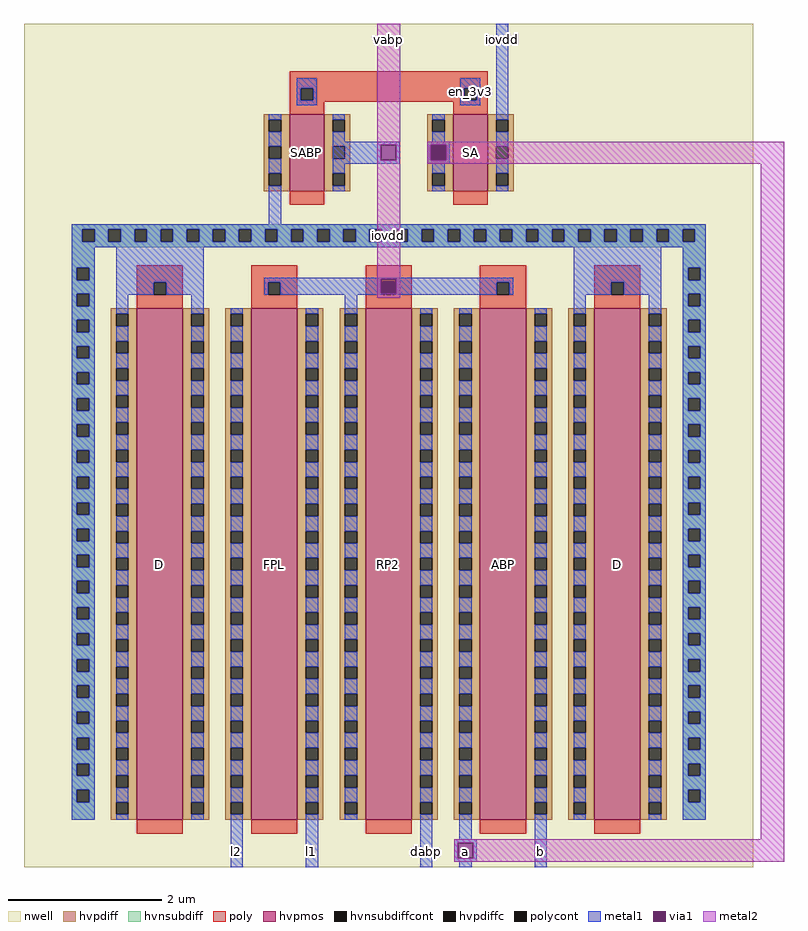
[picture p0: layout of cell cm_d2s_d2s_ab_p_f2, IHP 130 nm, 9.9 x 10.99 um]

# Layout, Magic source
magic
tech ihp-sg13cmos5l
magscale 1 2
<< nwell >>
rect 0 0 1900 2198
<< hvnsubdiff >>
rect 124 1662 1776 1676
rect 124 1630 152 1662
rect 184 1630 220 1662
rect 252 1630 288 1662
rect 320 1630 356 1662
rect 388 1630 424 1662
rect 456 1630 492 1662
rect 524 1630 560 1662
rect 592 1630 628 1662
rect 660 1630 696 1662
rect 728 1630 764 1662
rect 796 1630 832 1662
rect 864 1630 900 1662
rect 932 1630 968 1662
rect 1000 1630 1036 1662
rect 1068 1630 1104 1662
rect 1136 1630 1172 1662
rect 1204 1630 1240 1662
rect 1272 1630 1308 1662
rect 1340 1630 1376 1662
rect 1408 1630 1444 1662
rect 1476 1630 1512 1662
rect 1544 1630 1580 1662
rect 1612 1630 1648 1662
rect 1680 1630 1716 1662
rect 1748 1630 1776 1662
rect 124 1616 1776 1630
rect 124 1562 184 1616
rect 124 1530 138 1562
rect 170 1530 184 1562
rect 124 1494 184 1530
rect 124 1462 138 1494
rect 170 1462 184 1494
rect 124 1426 184 1462
rect 1716 1562 1776 1616
rect 1716 1530 1730 1562
rect 1762 1530 1776 1562
rect 1716 1494 1776 1530
rect 1716 1462 1730 1494
rect 1762 1462 1776 1494
rect 124 1394 138 1426
rect 170 1394 184 1426
rect 124 1358 184 1394
rect 124 1326 138 1358
rect 170 1326 184 1358
rect 124 1290 184 1326
rect 124 1258 138 1290
rect 170 1258 184 1290
rect 124 1222 184 1258
rect 124 1190 138 1222
rect 170 1190 184 1222
rect 124 1154 184 1190
rect 124 1122 138 1154
rect 170 1122 184 1154
rect 124 1086 184 1122
rect 124 1054 138 1086
rect 170 1054 184 1086
rect 124 1018 184 1054
rect 124 986 138 1018
rect 170 986 184 1018
rect 124 950 184 986
rect 124 918 138 950
rect 170 918 184 950
rect 124 882 184 918
rect 124 850 138 882
rect 170 850 184 882
rect 124 814 184 850
rect 124 782 138 814
rect 170 782 184 814
rect 124 746 184 782
rect 124 714 138 746
rect 170 714 184 746
rect 124 678 184 714
rect 124 646 138 678
rect 170 646 184 678
rect 124 610 184 646
rect 124 578 138 610
rect 170 578 184 610
rect 124 542 184 578
rect 124 510 138 542
rect 170 510 184 542
rect 124 474 184 510
rect 124 442 138 474
rect 170 442 184 474
rect 124 406 184 442
rect 124 374 138 406
rect 170 374 184 406
rect 124 338 184 374
rect 124 306 138 338
rect 170 306 184 338
rect 124 270 184 306
rect 124 238 138 270
rect 170 238 184 270
rect 124 202 184 238
rect 124 170 138 202
rect 170 170 184 202
rect 124 124 184 170
rect 1716 1426 1776 1462
rect 1716 1394 1730 1426
rect 1762 1394 1776 1426
rect 1716 1358 1776 1394
rect 1716 1326 1730 1358
rect 1762 1326 1776 1358
rect 1716 1290 1776 1326
rect 1716 1258 1730 1290
rect 1762 1258 1776 1290
rect 1716 1222 1776 1258
rect 1716 1190 1730 1222
rect 1762 1190 1776 1222
rect 1716 1154 1776 1190
rect 1716 1122 1730 1154
rect 1762 1122 1776 1154
rect 1716 1086 1776 1122
rect 1716 1054 1730 1086
rect 1762 1054 1776 1086
rect 1716 1018 1776 1054
rect 1716 986 1730 1018
rect 1762 986 1776 1018
rect 1716 950 1776 986
rect 1716 918 1730 950
rect 1762 918 1776 950
rect 1716 882 1776 918
rect 1716 850 1730 882
rect 1762 850 1776 882
rect 1716 814 1776 850
rect 1716 782 1730 814
rect 1762 782 1776 814
rect 1716 746 1776 782
rect 1716 714 1730 746
rect 1762 714 1776 746
rect 1716 678 1776 714
rect 1716 646 1730 678
rect 1762 646 1776 678
rect 1716 610 1776 646
rect 1716 578 1730 610
rect 1762 578 1776 610
rect 1716 542 1776 578
rect 1716 510 1730 542
rect 1762 510 1776 542
rect 1716 474 1776 510
rect 1716 442 1730 474
rect 1762 442 1776 474
rect 1716 406 1776 442
rect 1716 374 1730 406
rect 1762 374 1776 406
rect 1716 338 1776 374
rect 1716 306 1730 338
rect 1762 306 1776 338
rect 1716 270 1776 306
rect 1716 238 1730 270
rect 1762 238 1776 270
rect 1716 202 1776 238
rect 1716 170 1730 202
rect 1762 170 1776 202
rect 1716 124 1776 170
<< hvnsubdiffcont >>
rect 152 1630 184 1662
rect 220 1630 252 1662
rect 288 1630 320 1662
rect 356 1630 388 1662
rect 424 1630 456 1662
rect 492 1630 524 1662
rect 560 1630 592 1662
rect 628 1630 660 1662
rect 696 1630 728 1662
rect 764 1630 796 1662
rect 832 1630 864 1662
rect 900 1630 932 1662
rect 968 1630 1000 1662
rect 1036 1630 1068 1662
rect 1104 1630 1136 1662
rect 1172 1630 1204 1662
rect 1240 1630 1272 1662
rect 1308 1630 1340 1662
rect 1376 1630 1408 1662
rect 1444 1630 1476 1662
rect 1512 1630 1544 1662
rect 1580 1630 1612 1662
rect 1648 1630 1680 1662
rect 1716 1630 1748 1662
rect 138 1530 170 1562
rect 138 1462 170 1494
rect 1730 1530 1762 1562
rect 1730 1462 1762 1494
rect 138 1394 170 1426
rect 138 1326 170 1358
rect 138 1258 170 1290
rect 138 1190 170 1222
rect 138 1122 170 1154
rect 138 1054 170 1086
rect 138 986 170 1018
rect 138 918 170 950
rect 138 850 170 882
rect 138 782 170 814
rect 138 714 170 746
rect 138 646 170 678
rect 138 578 170 610
rect 138 510 170 542
rect 138 442 170 474
rect 138 374 170 406
rect 138 306 170 338
rect 138 238 170 270
rect 138 170 170 202
rect 1730 1394 1762 1426
rect 1730 1326 1762 1358
rect 1730 1258 1762 1290
rect 1730 1190 1762 1222
rect 1730 1122 1762 1154
rect 1730 1054 1762 1086
rect 1730 986 1762 1018
rect 1730 918 1762 950
rect 1730 850 1762 882
rect 1730 782 1762 814
rect 1730 714 1762 746
rect 1730 646 1762 678
rect 1730 578 1762 610
rect 1730 510 1762 542
rect 1730 442 1762 474
rect 1730 374 1762 406
rect 1730 306 1762 338
rect 1730 238 1762 270
rect 1730 170 1762 202
<< poly >>
rect 692 2030 1208 2074
rect 692 1998 721 2030
rect 753 1998 1147 2030
rect 1179 1998 1208 2030
rect 692 1994 1208 1998
rect 692 1962 782 1994
rect 1118 1962 1208 1994
rect 294 1524 414 1568
rect 294 1492 338 1524
rect 370 1492 414 1524
rect 294 1456 414 1492
rect 592 1524 712 1568
rect 592 1492 636 1524
rect 668 1492 712 1524
rect 592 1456 712 1492
rect 890 1524 1010 1568
rect 890 1492 934 1524
rect 966 1492 1010 1524
rect 890 1456 1010 1492
rect 1188 1524 1308 1568
rect 1188 1492 1232 1524
rect 1264 1492 1308 1524
rect 1188 1456 1308 1492
rect 1486 1524 1606 1568
rect 1486 1492 1530 1524
rect 1562 1492 1606 1524
rect 1486 1456 1606 1492
<< polycont >>
rect 721 1998 753 2030
rect 1147 1998 1179 2030
rect 338 1492 370 1524
rect 636 1492 668 1524
rect 934 1492 966 1524
rect 1232 1492 1264 1524
rect 1530 1492 1562 1524
<< metal1 >>
rect 711 2030 763 2056
rect 711 1998 721 2030
rect 753 1998 763 2030
rect 711 1986 763 1998
rect 1137 2030 1189 2056
rect 1137 1998 1147 2030
rect 1179 1998 1189 2030
rect 1137 1986 1189 1998
rect 1230 1962 1262 2198
rect 804 1882 979 1891
rect 804 1842 930 1882
rect 970 1842 979 1882
rect 804 1833 979 1842
rect 1051 1882 1109 1891
rect 1051 1842 1060 1882
rect 1100 1842 1109 1882
rect 1051 1833 1109 1842
rect 638 1676 670 1762
rect 124 1662 1776 1676
rect 124 1630 152 1662
rect 184 1630 220 1662
rect 252 1630 288 1662
rect 320 1630 356 1662
rect 388 1630 424 1662
rect 456 1630 492 1662
rect 524 1630 560 1662
rect 592 1630 628 1662
rect 660 1630 696 1662
rect 728 1630 764 1662
rect 796 1630 832 1662
rect 864 1630 900 1662
rect 932 1630 968 1662
rect 1000 1630 1036 1662
rect 1068 1630 1104 1662
rect 1136 1630 1172 1662
rect 1204 1630 1240 1662
rect 1272 1630 1308 1662
rect 1340 1630 1376 1662
rect 1408 1630 1444 1662
rect 1476 1630 1512 1662
rect 1544 1630 1580 1662
rect 1612 1630 1648 1662
rect 1680 1630 1716 1662
rect 1748 1630 1776 1662
rect 124 1616 1776 1630
rect 124 1562 184 1616
rect 124 1530 138 1562
rect 170 1530 184 1562
rect 124 1494 184 1530
rect 124 1462 138 1494
rect 170 1462 184 1494
rect 124 1426 184 1462
rect 240 1524 468 1616
rect 240 1492 338 1524
rect 370 1492 468 1524
rect 626 1534 1274 1536
rect 626 1524 930 1534
rect 970 1524 1274 1534
rect 626 1492 636 1524
rect 668 1494 930 1524
rect 970 1494 1232 1524
rect 668 1492 934 1494
rect 966 1492 1232 1494
rect 1264 1492 1274 1524
rect 1432 1524 1660 1616
rect 1432 1492 1530 1524
rect 1562 1492 1660 1524
rect 240 1456 272 1492
rect 436 1456 468 1492
rect 836 1456 868 1492
rect 1432 1456 1464 1492
rect 1628 1456 1660 1492
rect 1716 1562 1776 1616
rect 1716 1530 1730 1562
rect 1762 1530 1776 1562
rect 1716 1494 1776 1530
rect 1716 1462 1730 1494
rect 1762 1462 1776 1494
rect 124 1394 138 1426
rect 170 1394 184 1426
rect 124 1358 184 1394
rect 124 1326 138 1358
rect 170 1326 184 1358
rect 124 1290 184 1326
rect 124 1258 138 1290
rect 170 1258 184 1290
rect 124 1222 184 1258
rect 124 1190 138 1222
rect 170 1190 184 1222
rect 124 1154 184 1190
rect 124 1122 138 1154
rect 170 1122 184 1154
rect 124 1086 184 1122
rect 124 1054 138 1086
rect 170 1054 184 1086
rect 124 1018 184 1054
rect 124 986 138 1018
rect 170 986 184 1018
rect 124 950 184 986
rect 124 918 138 950
rect 170 918 184 950
rect 124 882 184 918
rect 124 850 138 882
rect 170 850 184 882
rect 124 814 184 850
rect 124 782 138 814
rect 170 782 184 814
rect 124 746 184 782
rect 124 714 138 746
rect 170 714 184 746
rect 124 678 184 714
rect 124 646 138 678
rect 170 646 184 678
rect 124 610 184 646
rect 124 578 138 610
rect 170 578 184 610
rect 124 542 184 578
rect 124 510 138 542
rect 170 510 184 542
rect 124 474 184 510
rect 124 442 138 474
rect 170 442 184 474
rect 124 406 184 442
rect 124 374 138 406
rect 170 374 184 406
rect 124 338 184 374
rect 124 306 138 338
rect 170 306 184 338
rect 124 270 184 306
rect 124 238 138 270
rect 170 238 184 270
rect 124 202 184 238
rect 124 170 138 202
rect 170 170 184 202
rect 124 124 184 170
rect 1716 1426 1776 1462
rect 1716 1394 1730 1426
rect 1762 1394 1776 1426
rect 1716 1358 1776 1394
rect 1716 1326 1730 1358
rect 1762 1326 1776 1358
rect 1716 1290 1776 1326
rect 1716 1258 1730 1290
rect 1762 1258 1776 1290
rect 1716 1222 1776 1258
rect 1716 1190 1730 1222
rect 1762 1190 1776 1222
rect 1716 1154 1776 1190
rect 1716 1122 1730 1154
rect 1762 1122 1776 1154
rect 1716 1086 1776 1122
rect 1716 1054 1730 1086
rect 1762 1054 1776 1086
rect 1716 1018 1776 1054
rect 1716 986 1730 1018
rect 1762 986 1776 1018
rect 1716 950 1776 986
rect 1716 918 1730 950
rect 1762 918 1776 950
rect 1716 882 1776 918
rect 1716 850 1730 882
rect 1762 850 1776 882
rect 1716 814 1776 850
rect 1716 782 1730 814
rect 1762 782 1776 814
rect 1716 746 1776 782
rect 1716 714 1730 746
rect 1762 714 1776 746
rect 1716 678 1776 714
rect 1716 646 1730 678
rect 1762 646 1776 678
rect 1716 610 1776 646
rect 1716 578 1730 610
rect 1762 578 1776 610
rect 1716 542 1776 578
rect 1716 510 1730 542
rect 1762 510 1776 542
rect 1716 474 1776 510
rect 1716 442 1730 474
rect 1762 442 1776 474
rect 1716 406 1776 442
rect 1716 374 1730 406
rect 1762 374 1776 406
rect 1716 338 1776 374
rect 1716 306 1730 338
rect 1762 306 1776 338
rect 1716 270 1776 306
rect 1716 238 1730 270
rect 1762 238 1776 270
rect 1716 202 1776 238
rect 1716 170 1730 202
rect 1762 170 1776 202
rect 1716 124 1776 170
rect 538 0 570 124
rect 734 0 766 124
rect 1032 0 1064 124
rect 1134 73 1166 124
rect 1121 64 1179 73
rect 1121 24 1130 64
rect 1170 24 1179 64
rect 1121 15 1179 24
rect 1134 0 1166 15
rect 1330 0 1362 124
<< via1 >>
rect 930 1842 970 1882
rect 1060 1842 1100 1882
rect 930 1524 970 1534
rect 930 1494 934 1524
rect 934 1494 966 1524
rect 966 1494 970 1524
rect 1130 24 1170 64
<< metal2 >>
rect 920 1882 980 2198
rect 920 1842 930 1882
rect 970 1842 980 1882
rect 920 1534 980 1842
rect 1051 1882 1980 1891
rect 1051 1842 1060 1882
rect 1100 1842 1980 1882
rect 1051 1833 1980 1842
rect 920 1494 930 1534
rect 970 1494 980 1534
rect 920 1484 980 1494
rect 1920 73 1980 1833
rect 1121 64 1980 73
rect 1121 24 1130 64
rect 1170 24 1980 64
rect 1121 15 1980 24
use cm_d2s_pmosHV_w1_l0p45  cm_d2s_pmosHV_w1_l0p45_0
transform 1 0 1050 0 1 1762
box -124 -124 350 324
use cm_d2s_pmosHV_w1_l0p45  cm_d2s_pmosHV_w1_l0p45_1
transform 1 0 624 0 1 1762
box -124 -124 350 324
use cm_d2s_pmosHV_w6p66_l0p6  cm_d2s_pmosHV_w6p66_l0p6_0
transform -1 0 1674 0 1 124
box -124 -124 380 1456
use cm_d2s_pmosHV_w6p66_l0p6  cm_d2s_pmosHV_w6p66_l0p6_1
transform -1 0 1376 0 1 124
box -124 -124 380 1456
use cm_d2s_pmosHV_w6p66_l0p6  cm_d2s_pmosHV_w6p66_l0p6_2
transform 1 0 822 0 1 124
box -124 -124 380 1456
use cm_d2s_pmosHV_w6p66_l0p6  cm_d2s_pmosHV_w6p66_l0p6_3
transform 1 0 524 0 1 124
box -124 -124 380 1456
use cm_d2s_pmosHV_w6p66_l0p6  cm_d2s_pmosHV_w6p66_l0p6_4
transform 1 0 226 0 1 124
box -124 -124 380 1456
<< labels >>
rlabel comment s 354 790 354 790 4 D
rlabel comment s 652 790 652 790 4 FPL
rlabel comment s 950 790 950 790 4 RP2
rlabel comment s 1248 790 1248 790 4 ABP
rlabel comment s 1546 790 1546 790 4 D
rlabel comment s 737 1862 737 1862 4 SABP
rlabel comment s 1163 1862 1163 1862 4 SA
rlabel metal2 s 920 2118 980 2198 4 vabp
port 2 nsew
rlabel metal1 s 1230 2118 1262 2198 4 iovdd
port 3 nsew
rlabel metal1 s 750 1616 1150 1676 4 iovdd
port 3 nsew
rlabel metal1 s 1137 1986 1189 2056 4 en_3v3
port 4 nsew
rlabel metal1 s 734 0 766 80 4 l1
port 5 nsew
rlabel metal1 s 538 0 570 80 4 l2
port 6 nsew
rlabel metal1 s 1032 0 1064 80 4 dabp
port 7 nsew
rlabel metal1 s 1330 0 1362 80 4 b
port 8 nsew
rlabel metal1 s 1134 0 1166 80 4 a
port 9 nsew
<< properties >>
string GDS_END 152710
string GDS_FILE custom_io/gds/sg13cmos5l_IOPadDiff2Single.uniq.gds
string GDS_START 143642
<< end >>

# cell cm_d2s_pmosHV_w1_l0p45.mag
magic
tech ihp-sg13cmos5l
magscale 1 2
<< nwell >>
rect -124 -124 350 324
<< hvpmos >>
rect 68 0 158 200
<< hvpdiff >>
rect 0 186 68 200
rect 0 154 14 186
rect 46 154 68 186
rect 0 116 68 154
rect 0 84 14 116
rect 46 84 68 116
rect 0 46 68 84
rect 0 14 14 46
rect 46 14 68 46
rect 0 0 68 14
rect 158 186 226 200
rect 158 154 180 186
rect 212 154 226 186
rect 158 116 226 154
rect 158 84 180 116
rect 212 84 226 116
rect 158 46 226 84
rect 158 14 180 46
rect 212 14 226 46
rect 158 0 226 14
<< hvpdiffc >>
rect 14 154 46 186
rect 14 84 46 116
rect 14 14 46 46
rect 180 154 212 186
rect 180 84 212 116
rect 180 14 212 46
<< poly >>
rect 68 200 158 236
rect 68 -36 158 0
<< metal1 >>
rect 14 186 46 200
rect 14 116 46 154
rect 14 46 46 84
rect 14 0 46 14
rect 180 186 212 200
rect 180 116 212 154
rect 180 46 212 84
rect 180 0 212 14
<< labels >>
flabel comment s 113 100 113 100 0 FreeSans 200 90 0 0 pmosHV
<< properties >>
string GDS_END 31168
string GDS_FILE custom_io/gds/sg13cmos5l_IOPadDiff2Single.uniq.gds
string GDS_START 29806
<< end >>

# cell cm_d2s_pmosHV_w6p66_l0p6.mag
magic
tech ihp-sg13cmos5l
magscale 1 2
<< nwell >>
rect -124 -124 380 1456
<< hvpmos >>
rect 68 0 188 1332
<< hvpdiff >>
rect 0 1318 68 1332
rect 0 1286 14 1318
rect 46 1286 68 1318
rect 0 1247 68 1286
rect 0 1215 14 1247
rect 46 1215 68 1247
rect 0 1176 68 1215
rect 0 1144 14 1176
rect 46 1144 68 1176
rect 0 1106 68 1144
rect 0 1074 14 1106
rect 46 1074 68 1106
rect 0 1035 68 1074
rect 0 1003 14 1035
rect 46 1003 68 1035
rect 0 964 68 1003
rect 0 932 14 964
rect 46 932 68 964
rect 0 894 68 932
rect 0 862 14 894
rect 46 862 68 894
rect 0 823 68 862
rect 0 791 14 823
rect 46 791 68 823
rect 0 752 68 791
rect 0 720 14 752
rect 46 720 68 752
rect 0 682 68 720
rect 0 650 14 682
rect 46 650 68 682
rect 0 611 68 650
rect 0 579 14 611
rect 46 579 68 611
rect 0 540 68 579
rect 0 508 14 540
rect 46 508 68 540
rect 0 470 68 508
rect 0 438 14 470
rect 46 438 68 470
rect 0 399 68 438
rect 0 367 14 399
rect 46 367 68 399
rect 0 328 68 367
rect 0 296 14 328
rect 46 296 68 328
rect 0 258 68 296
rect 0 226 14 258
rect 46 226 68 258
rect 0 187 68 226
rect 0 155 14 187
rect 46 155 68 187
rect 0 116 68 155
rect 0 84 14 116
rect 46 84 68 116
rect 0 46 68 84
rect 0 14 14 46
rect 46 14 68 46
rect 0 0 68 14
rect 188 1318 256 1332
rect 188 1286 210 1318
rect 242 1286 256 1318
rect 188 1247 256 1286
rect 188 1215 210 1247
rect 242 1215 256 1247
rect 188 1176 256 1215
rect 188 1144 210 1176
rect 242 1144 256 1176
rect 188 1106 256 1144
rect 188 1074 210 1106
rect 242 1074 256 1106
rect 188 1035 256 1074
rect 188 1003 210 1035
rect 242 1003 256 1035
rect 188 964 256 1003
rect 188 932 210 964
rect 242 932 256 964
rect 188 894 256 932
rect 188 862 210 894
rect 242 862 256 894
rect 188 823 256 862
rect 188 791 210 823
rect 242 791 256 823
rect 188 752 256 791
rect 188 720 210 752
rect 242 720 256 752
rect 188 682 256 720
rect 188 650 210 682
rect 242 650 256 682
rect 188 611 256 650
rect 188 579 210 611
rect 242 579 256 611
rect 188 540 256 579
rect 188 508 210 540
rect 242 508 256 540
rect 188 470 256 508
rect 188 438 210 470
rect 242 438 256 470
rect 188 399 256 438
rect 188 367 210 399
rect 242 367 256 399
rect 188 328 256 367
rect 188 296 210 328
rect 242 296 256 328
rect 188 258 256 296
rect 188 226 210 258
rect 242 226 256 258
rect 188 187 256 226
rect 188 155 210 187
rect 242 155 256 187
rect 188 116 256 155
rect 188 84 210 116
rect 242 84 256 116
rect 188 46 256 84
rect 188 14 210 46
rect 242 14 256 46
rect 188 0 256 14
<< hvpdiffc >>
rect 14 1286 46 1318
rect 14 1215 46 1247
rect 14 1144 46 1176
rect 14 1074 46 1106
rect 14 1003 46 1035
rect 14 932 46 964
rect 14 862 46 894
rect 14 791 46 823
rect 14 720 46 752
rect 14 650 46 682
rect 14 579 46 611
rect 14 508 46 540
rect 14 438 46 470
rect 14 367 46 399
rect 14 296 46 328
rect 14 226 46 258
rect 14 155 46 187
rect 14 84 46 116
rect 14 14 46 46
rect 210 1286 242 1318
rect 210 1215 242 1247
rect 210 1144 242 1176
rect 210 1074 242 1106
rect 210 1003 242 1035
rect 210 932 242 964
rect 210 862 242 894
rect 210 791 242 823
rect 210 720 242 752
rect 210 650 242 682
rect 210 579 242 611
rect 210 508 242 540
rect 210 438 242 470
rect 210 367 242 399
rect 210 296 242 328
rect 210 226 242 258
rect 210 155 242 187
rect 210 84 242 116
rect 210 14 242 46
<< poly >>
rect 68 1332 188 1368
rect 68 -36 188 0
<< metal1 >>
rect 14 1318 46 1332
rect 14 1247 46 1286
rect 14 1176 46 1215
rect 14 1106 46 1144
rect 14 1035 46 1074
rect 14 964 46 1003
rect 14 894 46 932
rect 14 823 46 862
rect 14 752 46 791
rect 14 682 46 720
rect 14 611 46 650
rect 14 540 46 579
rect 14 470 46 508
rect 14 399 46 438
rect 14 328 46 367
rect 14 258 46 296
rect 14 187 46 226
rect 14 116 46 155
rect 14 46 46 84
rect 14 0 46 14
rect 210 1318 242 1332
rect 210 1247 242 1286
rect 210 1176 242 1215
rect 210 1106 242 1144
rect 210 1035 242 1074
rect 210 964 242 1003
rect 210 894 242 932
rect 210 823 242 862
rect 210 752 242 791
rect 210 682 242 720
rect 210 611 242 650
rect 210 540 242 579
rect 210 470 242 508
rect 210 399 242 438
rect 210 328 242 367
rect 210 258 242 296
rect 210 187 242 226
rect 210 116 242 155
rect 210 46 242 84
rect 210 0 242 14
<< labels >>
flabel comment s 128 666 128 666 0 FreeSans 200 90 0 0 pmosHV
<< properties >>
string GDS_END 29752
string GDS_FILE custom_io/gds/sg13cmos5l_IOPadDiff2Single.uniq.gds
string GDS_START 26342
<< end >>
